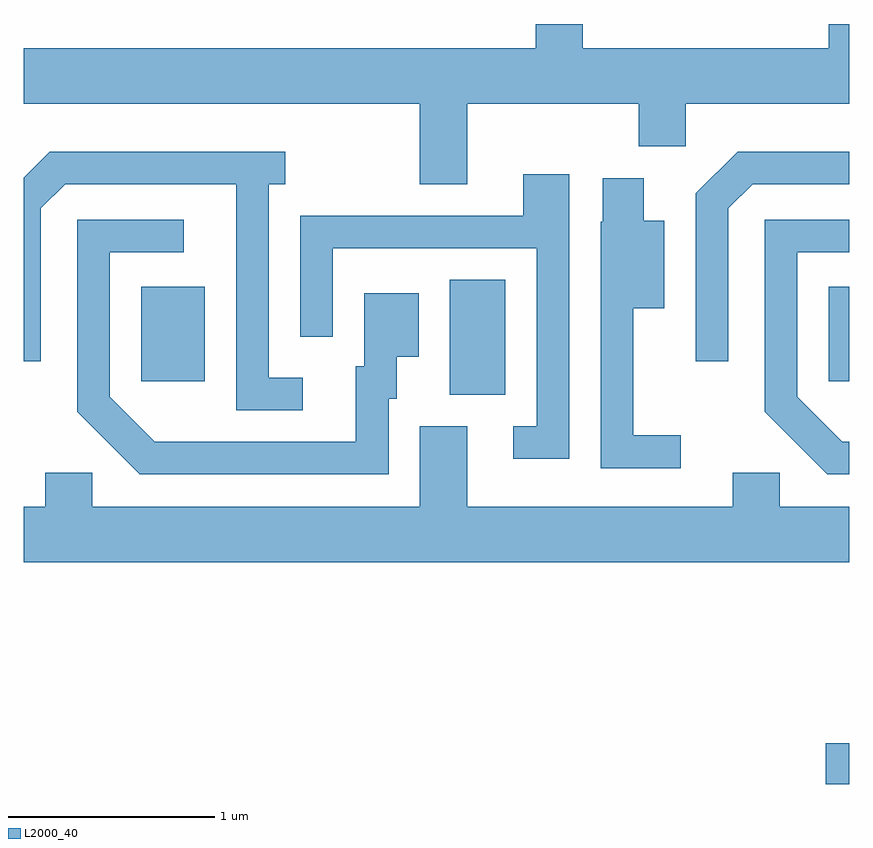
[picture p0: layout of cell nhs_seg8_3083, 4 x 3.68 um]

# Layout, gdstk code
import gdstk
lib = gdstk.Library(unit=1e-6, precision=1e-09)
def R(c, l, rs):  # rectangles x0, y0, x1, y1
    for r in rs: c.add(gdstk.rectangle(r[:2], r[2:], *l))
def P(c, l, *ps):  # polygons
    for p in ps: c.add(gdstk.Polygon(p, *l))
L2000_40 = (2000, 40)

nhs_seg8_3083 = lib.new_cell('nhs_seg8_3083')
R(nhs_seg8_3083, L2000_40, [(281.496,1848.661,281.611,1848.859), (279.676,1850.546,279.944,1851.104), (278.181,1850.611,278.489,1851.069), (281.511,1850.611,281.611,1851.069)])
P(nhs_seg8_3083, L2000_40, [(279.759,1851.956),(280.591,1851.956),(280.591,1851.751),(280.819,1851.751),(280.819,1851.956),(281.611,1851.956),(281.611,1852.342),(281.511,1852.342),(281.511,1852.224),(280.319,1852.224),(280.319,1852.342),(280.091,1852.342),(280.091,1852.224),(277.611,1852.224),(277.611,1851.956),(279.531,1851.956),(279.531,1851.566),(279.759,1851.566)],
  [(278.963,1850.629),(278.799,1850.629),(278.799,1851.566),(278.878,1851.566),(278.878,1851.724),(277.739,1851.724),(277.611,1851.597),(277.611,1850.708),(277.694,1850.708),(277.694,1851.449),(277.812,1851.566),(278.641,1851.566),(278.641,1850.471),(278.963,1850.471)],
  [(281.024,1851.449),(281.142,1851.566),(281.611,1851.566),(281.611,1851.724),(281.069,1851.724),(280.866,1851.522),(280.866,1850.708),(281.024,1850.708)],
  [(280.254,1851.614),(280.031,1851.614),(280.031,1851.414),(278.951,1851.414),(278.951,1850.828),(279.109,1850.828),(279.109,1851.256),(280.096,1851.256),(280.096,1850.394),(279.983,1850.394),(279.983,1850.236),(280.254,1850.236)],
  [(280.793,1850.349),(280.564,1850.349),(280.564,1850.966),(280.714,1850.966),(280.714,1851.389),(280.614,1851.389),(280.614,1851.594),(280.416,1851.594),(280.416,1851.385),(280.406,1851.385),(280.406,1850.191),(280.793,1850.191)],
  [(279.379,1850.526),(279.419,1850.526),(279.419,1850.731),(279.524,1850.731),(279.524,1851.039),(279.261,1851.039),(279.261,1850.684),(279.221,1850.684),(279.221,1850.319),(278.247,1850.319),(278.029,1850.537),(278.029,1851.236),(278.388,1851.236),(278.388,1851.394),(277.871,1851.394),(277.871,1850.464),(278.174,1850.161),(279.379,1850.161)],
  [(281.611,1850.319),(281.577,1850.319),(281.359,1850.537),(281.359,1851.236),(281.611,1851.236),(281.611,1851.394),(281.201,1851.394),(281.201,1850.464),(281.504,1850.161),(281.611,1850.161)],
  [(281.611,1850.004),(281.274,1850.004),(281.274,1850.169),(281.046,1850.169),(281.046,1850.004),(279.759,1850.004),(279.759,1850.394),(279.531,1850.394),(279.531,1850.004),(277.944,1850.004),(277.944,1850.169),(277.716,1850.169),(277.716,1850.004),(277.611,1850.004),(277.611,1849.736),(281.611,1849.736)])

lib.write_gds('nhs_seg8_3083.gds')
